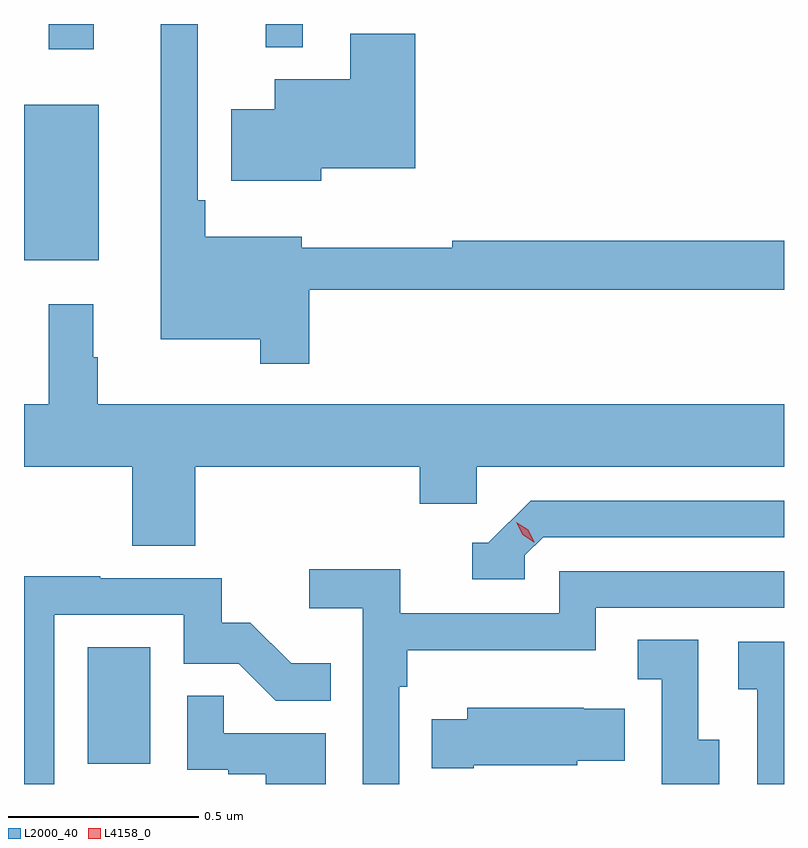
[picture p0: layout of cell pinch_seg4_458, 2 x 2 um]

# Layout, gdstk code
import gdstk
lib = gdstk.Library(unit=1e-6, precision=1e-09)
def R(c, l, rs):  # rectangles x0, y0, x1, y1
    for r in rs: c.add(gdstk.rectangle(r[:2], r[2:], *l))
def P(c, l, *ps):  # polygons
    for p in ps: c.add(gdstk.Polygon(p, *l))
L2000_40 = (2000, 40)
L4158_0 = (4158, 0)

pinch_seg4_458 = lib.new_cell('pinch_seg4_458')
R(pinch_seg4_458, L2000_40, [(926.336,782.718,926.5,783.025), (926.168,784.043,926.365,784.453), (926.233,784.599,926.351,784.665), (926.804,784.604,926.901,784.665)])
P(pinch_seg4_458, L2000_40, [(926.918,783.966),(928.168,783.966),(928.168,784.094),(927.295,784.094),(927.295,784.076),(926.899,784.076),(926.899,784.105),(926.645,784.105),(926.645,784.201),(926.625,784.201),(926.625,784.665),(926.528,784.665),(926.528,783.836),(926.79,783.836),(926.79,783.771),(926.918,783.771)],
  [(926.95,784.286),(927.197,784.286),(927.197,784.639),(927.026,784.639),(927.026,784.519),(926.828,784.519),(926.828,784.441),(926.714,784.441),(926.714,784.253),(926.95,784.253)],
  [(926.618,783.5),(927.209,783.5),(927.209,783.402),(927.36,783.402),(927.36,783.5),(928.168,783.5),(928.168,783.664),(926.362,783.664),(926.362,783.788),(926.35,783.788),(926.35,783.928),(926.233,783.928),(926.233,783.664),(926.168,783.664),(926.168,783.5),(926.453,783.5),(926.453,783.292),(926.618,783.292)],
  [(927.486,783.267),(927.534,783.315),(928.168,783.315),(928.168,783.411),(927.501,783.411),(927.39,783.3),(927.347,783.3),(927.347,783.204),(927.486,783.204)],
  [(927.156,782.921),(927.176,782.921),(927.176,783.017),(927.672,783.017),(927.672,783.129),(928.168,783.129),(928.168,783.225),(927.576,783.225),(927.576,783.114),(927.158,783.114),(927.158,783.23),(926.919,783.23),(926.919,783.128),(927.06,783.128),(927.06,782.665),(927.156,782.665)],
  [(926.247,783.111),(926.589,783.111),(926.589,782.982),(926.733,782.982),(926.831,782.884),(926.975,782.884),(926.975,782.983),(926.871,782.983),(926.764,783.09),(926.688,783.09),(926.688,783.207),(926.369,783.207),(926.369,783.212),(926.168,783.212),(926.168,782.665),(926.247,782.665)],
  [(927.997,782.781),(927.942,782.781),(927.942,783.044),(927.783,783.044),(927.783,782.941),(927.846,782.941),(927.846,782.665),(927.997,782.665)],
  [(928.168,783.039),(928.047,783.039),(928.047,782.915),(928.098,782.915),(928.098,782.665),(928.168,782.665)],
  [(926.962,782.799),(926.693,782.799),(926.693,782.897),(926.598,782.897),(926.598,782.703),(926.705,782.703),(926.705,782.691),(926.804,782.691),(926.804,782.665),(926.962,782.665)],
  [(927.352,782.714),(927.624,782.714),(927.624,782.726),(927.749,782.726),(927.749,782.863),(927.641,782.863),(927.641,782.866),(927.335,782.866),(927.335,782.836),(927.241,782.836),(927.241,782.707),(927.352,782.707)])
P(pinch_seg4_458, L4158_0, [(927.51,783.301),(927.48,783.321),(927.464,783.354),(927.464,783.354),(927.464,783.354),(927.495,783.334),(927.511,783.302),(927.511,783.301)])

lib.write_gds('pinch_seg4_458.gds')
